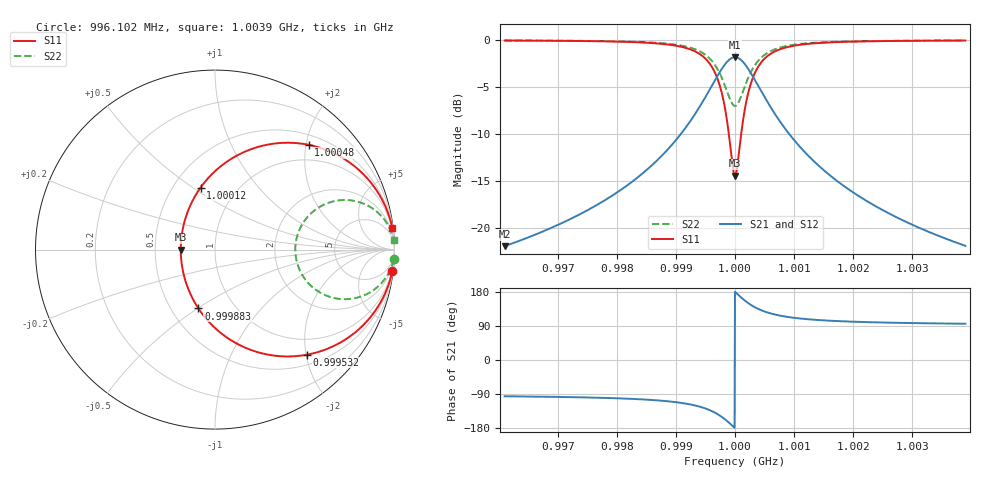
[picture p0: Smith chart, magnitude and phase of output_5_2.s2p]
! File generated for n1 = 5, n2 = 2
! b1 = 4.641589
! b2 = 2.154435
! Q0 = 10000.000000
! f0 = 1000000000.000000
! n = 1001
! rel_span = 10.000000
# Hz S RI R 50
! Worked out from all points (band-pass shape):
!   1001 points, 996.102 MHz to 1.0039 GHz, reference 50 ohm
!   highest |S21| = -1.82 dB at 1 GHz (marker M1); lowest = -21.9 dB at 996.102 MHz (marker M2)
!   |S21| within 3 dB of the highest: 999.6112 MHz to 1.000389 GHz (777.8 kHz wide, 0.0778 % of centre)
!   lowest |S11| = -14.4 dB at 1 GHz (marker M3), VSWR 1.47, Z = 34 + j0 ohm
!   |S11| at or under -10 dB: 999.8963 MHz to 1.000104 GHz (207.3 kHz wide, 0.0207 % of centre)
!   |S22| runs from -7.0 to 0.0 dB; largest |S21 - S12| = 0
!   S11 on the Smith chart (normalised r, x): 996.102 MHz: 1, -17; 999.532 MHz: 0.68, -2.02; 999.883 MHz: 0.68, -0.50; 1.00012 GHz: 0.68, +0.54; 1.00048 GHz: 0.68, +2.05; 1.0039 GHz: 1, +17
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9.96102e8  0.9883 -0.1177  -0.008 -0.0802  -0.008 -0.0802  0.9945 -0.0546
9.974039e8  0.9738 -0.1746  -0.0178 -0.119  -0.0178 -0.119  0.9878 -0.0811
9.987059e8  0.9011 -0.3287  -0.0674 -0.2239  -0.0674 -0.2239  0.9541 -0.1525
9.992048e8  0.7695 -0.4705  -0.1571 -0.3206  -0.1571 -0.3206  0.893 -0.2184
9.993841e8  0.6596 -0.538  -0.2319 -0.3666  -0.2319 -0.3666  0.842 -0.2497
9.995322e8  0.5121 -0.5856  -0.3324 -0.399  -0.3324 -0.399  0.7735 -0.2718
9.997271e8  0.2009 -0.5594  -0.5444 -0.3811  -0.5444 -0.3811  0.6291 -0.2597
9.998051e8  0.0474 -0.4763  -0.649 -0.3245  -0.649 -0.3245  0.5579 -0.2211
9.998831e8  -0.0924 -0.3277  -0.7443 -0.2233  -0.7443 -0.2233  0.4929 -0.1521
9.99961e8  -0.179 -0.1179  -0.8032 -0.0803  -0.8032 -0.0803  0.4528 -0.0547
1e9  -0.1908 0  -0.8113 0  -0.8113 0  0.4473 0
1.000039e9  -0.179 0.1179  -0.8032 0.0803  -0.8032 0.0803  0.4528 0.0547
1.000125e9  -0.0802 0.3456  -0.7359 0.2355  -0.7359 0.2355  0.4986 0.1604
1.000195e9  0.0474 0.4763  -0.649 0.3245  -0.649 0.3245  0.5578 0.2211
1.000273e9  0.2008 0.5594  -0.5445 0.3811  -0.5445 0.3811  0.629 0.2596
1.000359e9  0.355 0.5933  -0.4394 0.4042  -0.4394 0.4042  0.7006 0.2754
1.000476e9  0.5213 0.5838  -0.3261 0.3978  -0.3261 0.3978  0.7778 0.271
1.000624e9  0.6654 0.5352  -0.228 0.3647  -0.228 0.3647  0.8447 0.2484
1.000803e9  0.7728 0.4679  -0.1548 0.3188  -0.1548 0.3188  0.8945 0.2172
1.001302e9  0.9019 0.3274  -0.0668 0.223  -0.0668 0.223  0.9545 0.1519
1.002604e9  0.9738 0.1746  -0.0178 0.1189  -0.0178 0.1189  0.9879 0.081
1.003898e9  0.9882 0.1181  -0.00806 0.0805  -0.00806 0.0805  0.9945 0.0548
